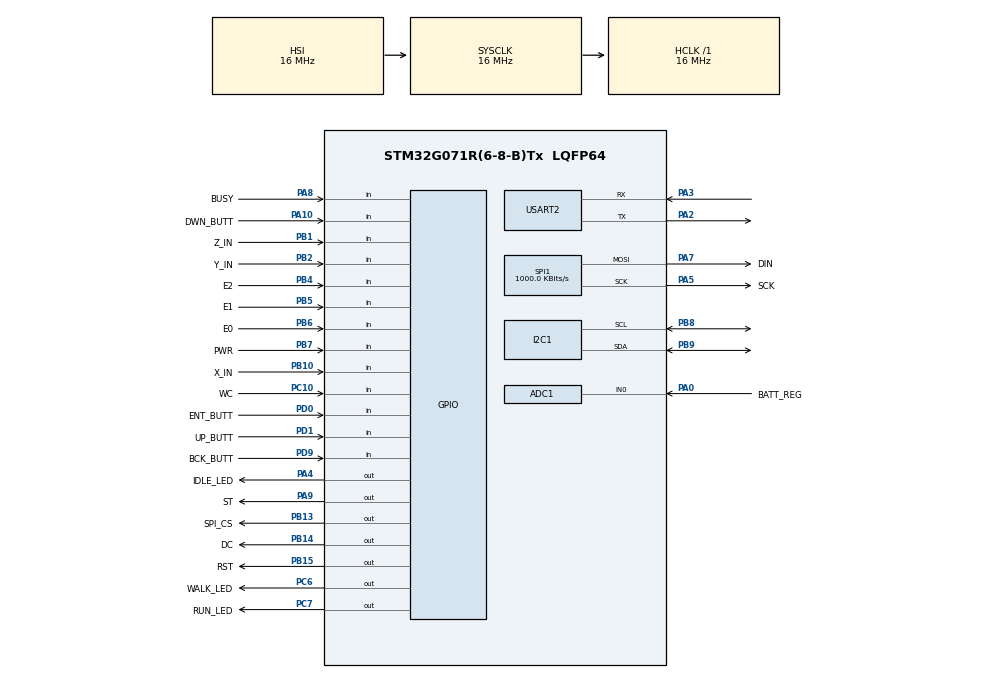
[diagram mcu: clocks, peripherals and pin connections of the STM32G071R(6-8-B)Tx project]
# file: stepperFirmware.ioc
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ADC1.Channel-0\#ChannelRegularConversion=ADC_CHANNEL_0
ADC1.NbrOfConversionFlag=1
ADC1.Rank-0\#ChannelRegularConversion=1
ADC1.SamplingTime-0\#ChannelRegularConversion=ADC_SAMPLINGTIME_COMMON_1
ADC1.SelectedChannel=ADC_CHANNEL_0
ADC1.master=1
I2C1.Timing=0x00503D58
Mcu.Family=STM32G0
Mcu.Name=STM32G071R(6-8-B)Tx
Mcu.Package=LQFP64
PA0.GPIO_Label=BATT_REG
PA0.Mode=IN0
PA0.Signal=ADC1_IN0
PA10.GPIO_Label=DWN_BUTT
PA10.Signal=GPIO_Input
PA13.Mode=Serial_Wire
PA13.Signal=SYS_SWDIO
PA14-BOOT0.Mode=Serial_Wire
PA14-BOOT0.Signal=SYS_SWCLK
PA2.Mode=Asynchronous
PA2.Signal=USART2_TX
PA3.Mode=Asynchronous
PA3.Signal=USART2_RX
PA4.GPIO_Label=IDLE_LED
PA4.Signal=GPIO_Output
PA5.GPIO_Label=SCK
PA5.Mode=TX_Only_Simplex_Unidirect_Master
PA5.Signal=SPI1_SCK
PA7.GPIO_Label=DIN
PA7.Mode=TX_Only_Simplex_Unidirect_Master
PA7.Signal=SPI1_MOSI
PA8.GPIO_Label=BUSY
PA8.Signal=GPIO_Input
PA9.GPIO_Label=ST
PA9.Signal=GPIO_Output
PB1.GPIO_Label=Z_IN
PB1.Signal=GPIO_Input
PB10.GPIO_Label=X_IN
PB10.Signal=GPIO_Input
PB13.GPIO_Label=SPI_CS
PB13.Signal=GPIO_Output
PB14.GPIO_Label=DC
PB14.Signal=GPIO_Output
PB15.GPIO_Label=RST
PB15.Signal=GPIO_Output
PB2.GPIO_Label=Y_IN
PB2.Signal=GPIO_Input
PB4.GPIO_Label=E2
PB4.Signal=GPIO_Input
PB5.GPIO_Label=E1
PB5.Signal=GPIO_Input
PB6.GPIO_Label=E0
PB6.Signal=GPIO_Input
PB7.GPIO_Label=PWR
PB7.Signal=GPIO_Input
PB8.Mode=I2C
PB8.Signal=I2C1_SCL
PB9.Mode=I2C
PB9.Signal=I2C1_SDA
PC10.GPIO_Label=WC
PC10.Signal=GPIO_Input
PC6.GPIO_Label=WALK_LED
PC6.Signal=GPIO_Output
PC7.GPIO_Label=RUN_LED
PC7.Signal=GPIO_Output
PD0.GPIO_Label=ENT_BUTT
PD0.Signal=GPIO_Input
PD1.GPIO_Label=UP_BUTT
PD1.Signal=GPIO_Input
PD9.GPIO_Label=BCK_BUTT
PD9.Signal=GPIO_Input
ProjectManager.HeapSize=0x200
ProjectManager.StackSize=0x400
ProjectManager.TargetToolchain=STM32CubeIDE
RCC.AHBFreq_Value=16000000
RCC.CortexFreq_Value=16000000
RCC.EXTERNAL_CLOCK_VALUE=48000
RCC.HCLKFreq_Value=16000000
RCC.HSE_VALUE=8000000
RCC.HSI_VALUE=16000000
RCC.LSE_VALUE=32768
RCC.SYSCLKFreq_VALUE=16000000
RCC.VCOOutputFreq_Value=128000000
SPI1.BaudRatePrescaler=SPI_BAUDRATEPRESCALER_16
SPI1.CalculateBaudRate=1000.0 KBits/s
SPI1.DataSize=SPI_DATASIZE_8BIT
SPI1.Direction=SPI_DIRECTION_2LINES
SPI1.Mode=SPI_MODE_MASTER
SPI1.VirtualType=VM_MASTER
USART2.VirtualMode-Asynchronous=VM_ASYNC
VP_CRC_VS_CRC.Mode=CRC_Activate
board=custom

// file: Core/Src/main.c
/* USER CODE BEGIN Header */
/**
  ******************************************************************************
  * @file           : main.c
  * @brief          : Main program body
  ******************************************************************************
  * @attention
  *
  * Copyright (c) 2025 STMicroelectronics.
  * All rights reserved.
  *
  * This software is licensed under terms that can be found in the LICENSE file
  * in the root directory of this software component.
  * If no LICENSE file comes with this software, it is provided AS-IS.
  *
  ******************************************************************************
  */
/* USER CODE END Header */
#include "main.h"

ADC_HandleTypeDef hadc1;

CRC_HandleTypeDef hcrc;

I2C_HandleTypeDef hi2c1;

SPI_HandleTypeDef hspi1;

UART_HandleTypeDef huart2;

/* USER CODE BEGIN PV */
float sensZ;
float pos;
float neg;

float X;
float Y;
float Z;
int stepsDebug;

float offsetX;
float offsetY;
float offsetZ;

float sensitivityX;
float sensitivityY;
float sensitivityZ;

uint16_t adc_value;
uint16_t vrefint_value;
float voltage_actual;

uint32_t ourResetTimer;
#define RESETINTERV 10000

uint32_t myVal;

struct stepperStruct stepper;
/* USER CODE END PV */

void SystemClock_Config(void);
static void MX_GPIO_Init(void);
static void MX_ADC1_Init(void);
static void MX_SPI1_Init(void);
static void MX_USART2_UART_Init(void);
static void MX_CRC_Init(void);
static void MX_I2C1_Init(void);

int main(void)
{

  /* MCU Configuration--------------------------------------------------------*/

  /* Reset of all peripherals, Initializes the Flash interface and the Systick. */
  HAL_Init();

  /* Configure the system clock */
  SystemClock_Config();

  /* USER CODE BEGIN SysInit */
#ifndef eeprom
  // Set up interrupts for eeprom emulation
  HAL_NVIC_SetPriority(PVD_IRQn, 0, 0);
  HAL_NVIC_EnableIRQ(PVD_IRQn);
#endif
  /* USER CODE END SysInit */

  /* Initialize all configured peripherals */
  MX_GPIO_Init();
  MX_ADC1_Init();
  MX_SPI1_Init();
  MX_USART2_UART_Init();
  MX_CRC_Init();
  MX_I2C1_Init();
  /* USER CODE BEGIN 2 */

#ifndef eeprom
	// Unlock Flash for EEPROM init
	if (HAL_FLASH_Unlock() != HAL_OK) {
		HAL_FLASH_Lock();
		Error_Handler();
	}

	// Enable PWR clock FIRST
	__HAL_RCC_PWR_CLK_ENABLE();

	// Configure PVD AFTER clock enable
	HAL_NVIC_SetPriority(PVD_IRQn, 0, 0);
	HAL_NVIC_EnableIRQ(PVD_IRQn);

	PWR_PVDTypeDef sConfigPVD = {.PVDLevel = PWR_PVDLEVEL_6, .Mode = PWR_PVD_MODE_IT_RISING};
	if (HAL_PWR_ConfigPVD(&sConfigPVD) != HAL_OK) Error_Handler();
	HAL_PWR_EnablePVD();

	__HAL_FLASH_ENABLE_IT(FLASH_IT_ECCC);

	// Initialize EEPROM
	EE_Status status = EE_Init(EE_CONDITIONAL_ERASE);
	if (status != EE_OK) {
		HAL_FLASH_Lock();
		Error_Handler();
	}

	HAL_Delay(100);

	HAL_FLASH_Lock();  // Lock Flash after init
#endif

  singleBlink();
  initStruct();
  setupDisp();

  while (selfTestHarrsha())
  {
  	stepper.screen = SYS_ERROR;
  	manageDisp();
	ledManager();
  }

  stepper.pace = IDLE;
  uint32_t now = HAL_GetTick();
  stepper.lastStepTime = 0;
  stepper.steps = 0;
  stepper.lastButtonPress = now;
  stepper.showButtons = 1;
  // developing code only
  stepper.record = 0;
  int storedRecord = rememberRecordEEPROM();
  stepper.record = storedRecord;
  initialiseStepDetector();

  // check for calibrated data
  cali3D caliStruct;
  readCaliEE(&caliStruct);
  float averageOffset = (caliStruct.xOffset + caliStruct.yOffset + caliStruct.zOffset)/3;
  float averageSensitivity = (caliStruct.xSensitivity + caliStruct.ySensitivity + caliStruct.zSensitivity)/3;
  if ((averageOffset > 1500)&&(averageOffset < 2500)&&(averageSensitivity > 300)&&(averageSensitivity < 600)) {
	  stepper.screen = HOMESCREEN;
	  offsetX = caliStruct.xOffset;
	  sensitivityX = caliStruct.xSensitivity;
	  offsetY = caliStruct.yOffset;
	  sensitivityY = caliStruct.ySensitivity;
	  offsetZ = caliStruct.zOffset;
	  sensitivityZ = caliStruct.zSensitivity;
  } else {
	  stepper.screen = CALIBRATION;
  }
  manageDisp();
  /* USER CODE END 2 */

  /* Infinite loop */
  while (1)
  {

    /* USER CODE BEGIN 3 */
	if (stepper.screen == CALIBRATION) {
		calibrateAllAxes(); // ORDER IS --> X, Y, Z
	}

	observeSensor();
	paceDetection();
	ledManager();
	manageDisp();

	//	 IF device is on HOMESCREEN, call the appropriate accelerometer functions
	//	 NOTE: the display will only update as long as the pace is IDLE
	inputActioner(); // determines how it should respond to button presses
  }
  /* USER CODE END 3 */
}

void SystemClock_Config(void)
{
  RCC_OscInitTypeDef RCC_OscInitStruct = {0};
  RCC_ClkInitTypeDef RCC_ClkInitStruct = {0};

  /** Configure the main internal regulator output voltage
  */
  HAL_PWREx_ControlVoltageScaling(PWR_REGULATOR_VOLTAGE_SCALE1);

  /** Initializes the RCC Oscillators according to the specified parameters
  * in the RCC_OscInitTypeDef structure.
  */
  RCC_OscInitStruct.OscillatorType = RCC_OSCILLATORTYPE_HSI;
  RCC_OscInitStruct.HSIState = RCC_HSI_ON;
  RCC_OscInitStruct.HSIDiv = RCC_HSI_DIV1;
  RCC_OscInitStruct.HSICalibrationValue = RCC_HSICALIBRATION_DEFAULT;
  RCC_OscInitStruct.PLL.PLLState = RCC_PLL_NONE;
  if (HAL_RCC_OscConfig(&RCC_OscInitStruct) != HAL_OK)
  {
    Error_Handler();
  }

  /** Initializes the CPU, AHB and APB buses clocks
  */
  RCC_ClkInitStruct.ClockType = RCC_CLOCKTYPE_HCLK|RCC_CLOCKTYPE_SYSCLK
                              |RCC_CLOCKTYPE_PCLK1;
  RCC_ClkInitStruct.SYSCLKSource = RCC_SYSCLKSOURCE_HSI;
  RCC_ClkInitStruct.AHBCLKDivider = RCC_SYSCLK_DIV1;
  RCC_ClkInitStruct.APB1CLKDivider = RCC_HCLK_DIV1;

  if (HAL_RCC_ClockConfig(&RCC_ClkInitStruct, FLASH_LATENCY_0) != HAL_OK)
  {
    Error_Handler();
  }
}

static void MX_ADC1_Init(void)
{

  ADC_ChannelConfTypeDef sConfig = {0};

  /** Configure the global features of the ADC (Clock, Resolution, Data Alignment and number of conversion)
  */
  hadc1.Instance = ADC1;
  hadc1.Init.ClockPrescaler = ADC_CLOCK_SYNC_PCLK_DIV2;
  hadc1.Init.Resolution = ADC_RESOLUTION_12B;
  hadc1.Init.DataAlign = ADC_DATAALIGN_RIGHT;
  hadc1.Init.ScanConvMode = ADC_SCAN_DISABLE;
  hadc1.Init.EOCSelection = ADC_EOC_SINGLE_CONV;
  hadc1.Init.LowPowerAutoWait = DISABLE;
  hadc1.Init.LowPowerAutoPowerOff = DISABLE;
  hadc1.Init.ContinuousConvMode = DISABLE;
  hadc1.Init.NbrOfConversion = 1;
  hadc1.Init.DiscontinuousConvMode = DISABLE;
  hadc1.Init.ExternalTrigConv = ADC_SOFTWARE_START;
  hadc1.Init.ExternalTrigConvEdge = ADC_EXTERNALTRIGCONVEDGE_NONE;
  hadc1.Init.DMAContinuousRequests = DISABLE;
  hadc1.Init.Overrun = ADC_OVR_DATA_PRESERVED;
  hadc1.Init.SamplingTimeCommon1 = ADC_SAMPLETIME_1CYCLE_5;
  hadc1.Init.SamplingTimeCommon2 = ADC_SAMPLETIME_1CYCLE_5;
  hadc1.Init.OversamplingMode = DISABLE;
  hadc1.Init.TriggerFrequencyMode = ADC_TRIGGER_FREQ_HIGH;
  if (HAL_ADC_Init(&hadc1) != HAL_OK)
  {
    Error_Handler();
  }

  /** Configure Regular Channel
  */
  sConfig.Channel = ADC_CHANNEL_0;
  sConfig.Rank = ADC_REGULAR_RANK_1;
  sConfig.SamplingTime = ADC_SAMPLINGTIME_COMMON_1;
  if (HAL_ADC_ConfigChannel(&hadc1, &sConfig) != HAL_OK)
  {
    Error_Handler();
  }

}

static void MX_CRC_Init(void)
{

  hcrc.Instance = CRC;
  hcrc.Init.DefaultPolynomialUse = DEFAULT_POLYNOMIAL_ENABLE;
  hcrc.Init.DefaultInitValueUse = DEFAULT_INIT_VALUE_ENABLE;
  hcrc.Init.InputDataInversionMode = CRC_INPUTDATA_INVERSION_NONE;
  hcrc.Init.OutputDataInversionMode = CRC_OUTPUTDATA_INVERSION_DISABLE;
  hcrc.InputDataFormat = CRC_INPUTDATA_FORMAT_BYTES;
  if (HAL_CRC_Init(&hcrc) != HAL_OK)
  {
    Error_Handler();
  }

}

static void MX_I2C1_Init(void)
{

  hi2c1.Instance = I2C1;
  hi2c1.Init.Timing = 0x00503D58;
  hi2c1.Init.OwnAddress1 = 0;
  hi2c1.Init.AddressingMode = I2C_ADDRESSINGMODE_7BIT;
  hi2c1.Init.DualAddressMode = I2C_DUALADDRESS_DISABLE;
  hi2c1.Init.OwnAddress2 = 0;
  hi2c1.Init.OwnAddress2Masks = I2C_OA2_NOMASK;
  hi2c1.Init.GeneralCallMode = I2C_GENERALCALL_DISABLE;
  hi2c1.Init.NoStretchMode = I2C_NOSTRETCH_DISABLE;
  if (HAL_I2C_Init(&hi2c1) != HAL_OK)
  {
    Error_Handler();
  }

  /** Configure Analogue filter
  */
  if (HAL_I2CEx_ConfigAnalogFilter(&hi2c1, I2C_ANALOGFILTER_ENABLE) != HAL_OK)
  {
    Error_Handler();
  }

  /** Configure Digital filter
  */
  if (HAL_I2CEx_ConfigDigitalFilter(&hi2c1, 0) != HAL_OK)
  {
    Error_Handler();
  }

}

static void MX_SPI1_Init(void)
{

  /* SPI1 parameter configuration*/
  hspi1.Instance = SPI1;
  hspi1.Init.Mode = SPI_MODE_MASTER;
  hspi1.Init.Direction = SPI_DIRECTION_2LINES;
  hspi1.Init.DataSize = SPI_DATASIZE_8BIT;
  hspi1.Init.CLKPolarity = SPI_POLARITY_LOW;
  hspi1.Init.CLKPhase = SPI_PHASE_1EDGE;
  hspi1.Init.NSS = SPI_NSS_SOFT;
  hspi1.Init.BaudRatePrescaler = SPI_BAUDRATEPRESCALER_16;
  hspi1.Init.FirstBit = SPI_FIRSTBIT_MSB;
  hspi1.Init.TIMode = SPI_TIMODE_DISABLE;
  hspi1.Init.CRCCalculation = SPI_CRCCALCULATION_DISABLE;
  hspi1.Init.CRCPolynomial = 7;
  hspi1.Init.CRCLength = SPI_CRC_LENGTH_DATASIZE;
  hspi1.Init.NSSPMode = SPI_NSS_PULSE_ENABLE;
  if (HAL_SPI_Init(&hspi1) != HAL_OK)
  {
    Error_Handler();
  }

}

static void MX_USART2_UART_Init(void)
{

  huart2.Instance = USART2;
  huart2.Init.BaudRate = 115200;
  huart2.Init.WordLength = UART_WORDLENGTH_8B;
  huart2.Init.StopBits = UART_STOPBITS_1;
  huart2.Init.Parity = UART_PARITY_NONE;
  huart2.Init.Mode = UART_MODE_TX_RX;
  huart2.Init.HwFlowCtl = UART_HWCONTROL_NONE;
  huart2.Init.OverSampling = UART_OVERSAMPLING_16;
  huart2.Init.OneBitSampling = UART_ONE_BIT_SAMPLE_DISABLE;
  huart2.Init.ClockPrescaler = UART_PRESCALER_DIV1;
  huart2.AdvancedInit.AdvFeatureInit = UART_ADVFEATURE_NO_INIT;
  if (HAL_UART_Init(&huart2) != HAL_OK)
  {
    Error_Handler();
  }
  if (HAL_UARTEx_SetTxFifoThreshold(&huart2, UART_TXFIFO_THRESHOLD_1_8) != HAL_OK)
  {
    Error_Handler();
  }
  if (HAL_UARTEx_SetRxFifoThreshold(&huart2, UART_RXFIFO_THRESHOLD_1_8) != HAL_OK)
  {
    Error_Handler();
  }
  if (HAL_UARTEx_DisableFifoMode(&huart2) != HAL_OK)
  {
    Error_Handler();
  }

}

static void MX_GPIO_Init(void)
{
  GPIO_InitTypeDef GPIO_InitStruct = {0};

  /* GPIO Ports Clock Enable */
  __HAL_RCC_GPIOA_CLK_ENABLE();
  __HAL_RCC_GPIOB_CLK_ENABLE();
  __HAL_RCC_GPIOC_CLK_ENABLE();
  __HAL_RCC_GPIOD_CLK_ENABLE();

  /*Configure GPIO pin Output Level */
  HAL_GPIO_WritePin(GPIOA, IDLE_LED_Pin|ST_Pin, GPIO_PIN_RESET);

  /*Configure GPIO pin Output Level */
  HAL_GPIO_WritePin(GPIOB, SPI_CS_Pin|DC_Pin|RST_Pin, GPIO_PIN_RESET);

  /*Configure GPIO pin Output Level */
  HAL_GPIO_WritePin(GPIOC, WALK_LED_Pin|RUN_LED_Pin, GPIO_PIN_RESET);

  /*Configure GPIO pins : IDLE_LED_Pin ST_Pin */
  GPIO_InitStruct.Pin = IDLE_LED_Pin|ST_Pin;
  GPIO_InitStruct.Mode = GPIO_MODE_OUTPUT_PP;
  GPIO_InitStruct.Pull = GPIO_NOPULL;
  GPIO_InitStruct.Speed = GPIO_SPEED_FREQ_LOW;
  HAL_GPIO_Init(GPIOA, &GPIO_InitStruct);

  /*Configure GPIO pins : Z_IN_Pin Y_IN_Pin X_IN_Pin E2_Pin
                           E1_Pin E0_Pin PWR_Pin */
  GPIO_InitStruct.Pin = Z_IN_Pin|Y_IN_Pin|X_IN_Pin|E2_Pin
                          |E1_Pin|E0_Pin|PWR_Pin;
  GPIO_InitStruct.Mode = GPIO_MODE_INPUT;
  GPIO_InitStruct.Pull = GPIO_NOPULL;
  HAL_GPIO_Init(GPIOB, &GPIO_InitStruct);

  /*Configure GPIO pins : SPI_CS_Pin DC_Pin RST_Pin */
  GPIO_InitStruct.Pin = SPI_CS_Pin|DC_Pin|RST_Pin;
  GPIO_InitStruct.Mode = GPIO_MODE_OUTPUT_PP;
  GPIO_InitStruct.Pull = GPIO_NOPULL;
  GPIO_InitStruct.Speed = GPIO_SPEED_FREQ_LOW;
  HAL_GPIO_Init(GPIOB, &GPIO_InitStruct);

  /*Configure GPIO pins : BUSY_Pin DWN_BUTT_Pin */
  GPIO_InitStruct.Pin = BUSY_Pin|DWN_BUTT_Pin;
  GPIO_InitStruct.Mode = GPIO_MODE_INPUT;
  GPIO_InitStruct.Pull = GPIO_NOPULL;
  HAL_GPIO_Init(GPIOA, &GPIO_InitStruct);

  /*Configure GPIO pins : WALK_LED_Pin RUN_LED_Pin */
  GPIO_InitStruct.Pin = WALK_LED_Pin|RUN_LED_Pin;
  GPIO_InitStruct.Mode = GPIO_MODE_OUTPUT_PP;
  GPIO_InitStruct.Pull = GPIO_NOPULL;
  GPIO_InitStruct.Speed = GPIO_SPEED_FREQ_LOW;
  HAL_GPIO_Init(GPIOC, &GPIO_InitStruct);

  /*Configure GPIO pins : BCK_BUTT_Pin ENT_BUTT_Pin UP_BUTT_Pin */
  GPIO_InitStruct.Pin = BCK_BUTT_Pin|ENT_BUTT_Pin|UP_BUTT_Pin;
  GPIO_InitStruct.Mode = GPIO_MODE_INPUT;
  GPIO_InitStruct.Pull = GPIO_NOPULL;
  HAL_GPIO_Init(GPIOD, &GPIO_InitStruct);

  /*Configure GPIO pin : WC_Pin */
  GPIO_InitStruct.Pin = WC_Pin;
  GPIO_InitStruct.Mode = GPIO_MODE_INPUT;
  GPIO_InitStruct.Pull = GPIO_NOPULL;
  HAL_GPIO_Init(WC_GPIO_Port, &GPIO_InitStruct);

}

void Error_Handler(void)
{
  /* USER CODE BEGIN Error_Handler_Debug */
  /* User can add his own implementation to report the HAL error return state */
  __disable_irq();
  while (1)
  {
		stepper.screen = SYS_ERROR;
		manageDisp();
		ledManager();
  }
  /* USER CODE END Error_Handler_Debug */
}
